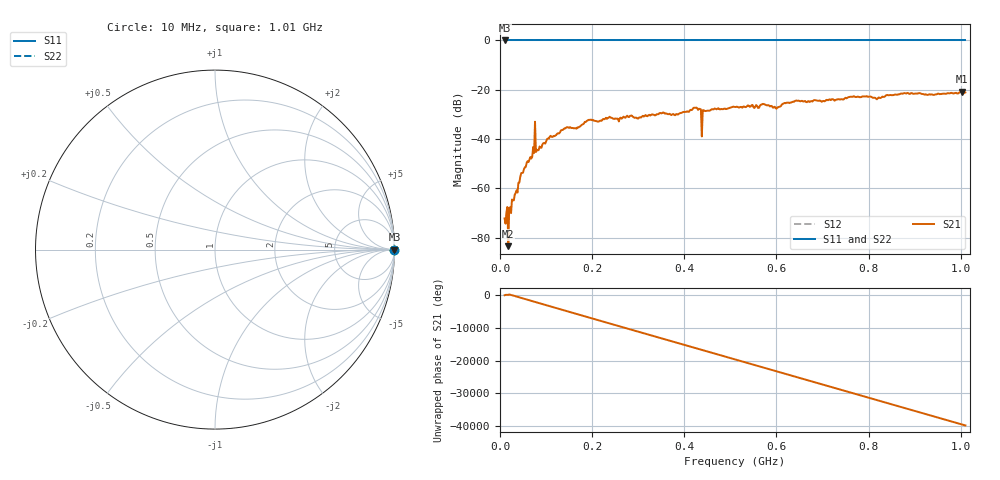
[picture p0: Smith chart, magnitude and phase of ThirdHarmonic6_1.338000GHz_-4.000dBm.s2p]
! 8/16/2025 2:59:38 PM
! C:\ANRITSUVNA\TEMP\TEMP.S2P
! CHANNEL.1
! TR.MEASUREMENT
! RAW.DATA
! RF.CORRECTION.OFF
! AVERAGING.OFF
! IF.BANDWIDTH: 5KHZ
! SWEEPTYPE:  FREQ.SWEEP(Linear)
! Reference Plane Port Info
! PORT:  PORT1  PORT2
! DISTANCE:  0  m  0  m
! TIME:  0  s  0  s
! PHASE.OFFSET:  0  deg.  0  deg.
! LOSS:  0  dB  0  dB
! REF.LOSS:  0  dB  0  dB
! REF.FREQ:  0  Hz  0  Hz
! Power Info
! POWER:  -20  dBm  -20  dBm
! EFF.POWER:  -20  dBm  -20  dBm
! SOURCE.ATTEN:  0  dB  0  dB
! TEST.ATTEN:  0  dB  0  dB
# GHZ S RI R 50.0
! FREQ.GHZ  S11RE  S11IM  S21RE  S21IM  S12RE  S12IM  S22RE  S22IM
!; PortSelection: Port_12
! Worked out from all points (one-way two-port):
!   501 points, 10 MHz to 1.01 GHz, reference 50 ohm
!   highest |S21| = -20.83 dB at 1.002 GHz (marker M1); lowest = -83.5 dB at 18 MHz (marker M2)
!   lowest |S11| = 0.0 dB at 10 MHz (marker M3)
!   |S11| at or under -10 dB: nowhere
!   |S22| runs from 0.0 to 0.0 dB; largest |S21 - S12| = 1.1
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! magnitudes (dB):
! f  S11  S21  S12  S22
! 10 MHz  0.0  -72.2  0.0  0.0
! 18 MHz  0.0  -83.5  0.0  0.0
! 22 MHz  0.0  -67.7  0.0  0.0
! 24 MHz  0.0  -70.1  0.0  0.0
! 44 MHz  0.0  -55.4  0.0  0.0
! 66 MHz  0.0  -47.3  0.0  0.0
! 76 MHz  0.0  -33.0  0.0  0.0
! 82 MHz  0.0  -44.6  0.0  0.0
! 136 MHz  0.0  -36.3  0.0  0.0
! 178 MHz  0.0  -34.2  0.0  0.0
! 194 MHz  0.0  -32.2  0.0  0.0
! 344 MHz  0.0  -29.9  0.0  0.0
! 382 MHz  0.0  -29.9  0.0  0.0
! 424 MHz  0.0  -27.3  0.0  0.0
! 442 MHz  0.0  -28.3  0.0  0.0
! 444 MHz  0.0  -28.6  0.0  0.0
! 510 MHz  0.0  -27.0  0.0  0.0
! 602 MHz  0.0  -27.2  0.0  0.0
! 678 MHz  0.0  -24.8  0.0  0.0
! 844 MHz  0.0  -22.3  0.0  0.0
! 1.002 GHz  0.0  -20.8  0.0  0.0
! 1.01 GHz  0.0  -21.1  0.0  0.0
